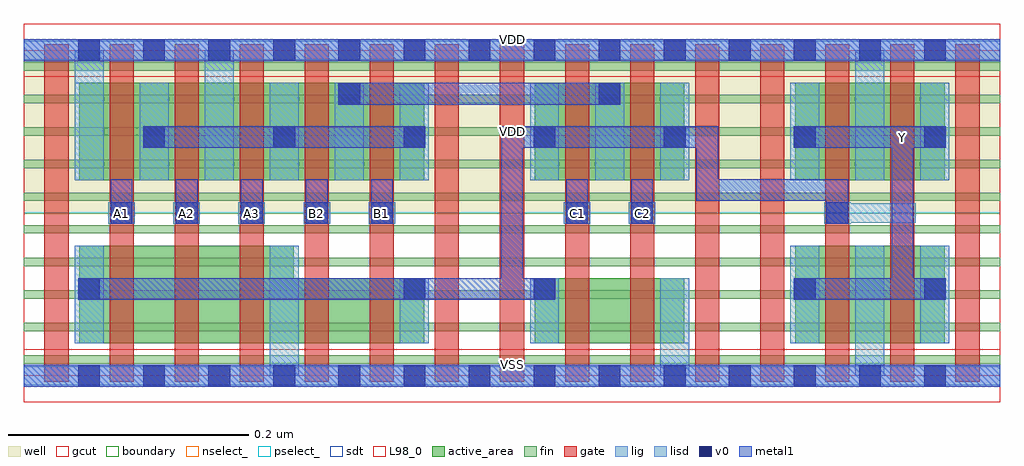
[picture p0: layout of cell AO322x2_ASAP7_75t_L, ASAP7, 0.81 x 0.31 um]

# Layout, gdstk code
import gdstk
lib = gdstk.Library(unit=1e-6, precision=2.5e-10)
def R(c, l, rs):  # rectangles x0, y0, x1, y1
    for r in rs: c.add(gdstk.rectangle(r[:2], r[2:], *l))
def A(c, l, x, y, w, h, nx, ny, dx, dy):  # array of equal rectangles
    R(c, l, [(x+i*dx, y+j*dy, x+i*dx+w, y+j*dy+h) for i in range(nx) for j in range(ny)])
def P(c, l, *ps):  # polygons
    for p in ps: c.add(gdstk.Polygon(p, *l))
well = (1, 0)
fin = (2, 0)
gate = (7, 0)
gcut = (10, 0)
active_area = (11, 0)
nselect_ = (12, 0)
pselect_ = (13, 0)
lig = (16, 0)
lisd = (17, 0)
v0 = (18, 0)
metal1 = (19, 0)
sdt = (88, 0)
L98_0 = (98, 0)
boundary = (100, 0)

ao322x2_asap7_75t_l = lib.new_cell('AO322x2_ASAP7_75t_L')
R(ao322x2_asap7_75t_l, well, [(0,0.135,0.81,0.27)])
A(ao322x2_asap7_75t_l, fin, 0, 0.01, 0.81, 0.007, 1, 10, 0, 0.027)
A(ao322x2_asap7_75t_l, gate, 0.017, -0.005, 0.02, 0.28, 15, 1, 0.054, 0)
R(ao322x2_asap7_75t_l, gcut, [(0,-0.022,0.81,0.022), (0,0.248,0.81,0.292)])
R(ao322x2_asap7_75t_l, active_area, [(0.424,0.027,0.548,0.081), (0.64,0.027,0.764,0.108), (0.046,0.162,0.332,0.243), (0.424,0.162,0.548,0.243), (0.64,0.162,0.764,0.243)])
P(ao322x2_asap7_75t_l, active_area, [(0.224,0.108),(0.046,0.108),(0.046,0.027),(0.332,0.027),(0.332,0.081),(0.224,0.081)])
R(ao322x2_asap7_75t_l, nselect_, [(0,0,0.81,0.135)])
R(ao322x2_asap7_75t_l, pselect_, [(0,0.135,0.81,0.27)])
A(ao322x2_asap7_75t_l, lig, 0.07, 0.126, 0.022, 0.018, 5, 1, 0.054, 0)
R(ao322x2_asap7_75t_l, lig, [(0,-0.008,0.81,0.008), (0.448,0.126,0.47,0.144), (0.502,0.126,0.524,0.144), (0.664,0.126,0.686,0.144), (0.664,0.127,0.74,0.143), (0,0.262,0.81,0.278)])
A(ao322x2_asap7_75t_l, lisd, 0.204, 0.162, 0.024, 0.081, 3, 1, 0.054, 0)
A(ao322x2_asap7_75t_l, lisd, 0.42, 0.162, 0.024, 0.081, 3, 1, 0.054, 0)
R(ao322x2_asap7_75t_l, lisd, [(0.204,0,0.228,0.108), (0.204,0,0.228,0.108), (0.528,0,0.552,0.081), (0.528,0,0.552,0.081), (0.69,0,0.714,0.108), (0.69,0,0.714,0.108), (0.042,0.027,0.066,0.108), (0.312,0.027,0.336,0.081), (0.42,0.027,0.444,0.081), (0.636,0.027,0.66,0.108), (0.744,0.027,0.768,0.108), (0.042,0.162,0.066,0.27), (0.042,0.162,0.066,0.27), (0.096,0.162,0.12,0.243), (0.15,0.162,0.174,0.27), (0.15,0.162,0.174,0.27), (0.636,0.162,0.66,0.243), (0.69,0.162,0.714,0.27), (0.69,0.162,0.714,0.27), (0.744,0.162,0.768,0.243)])
A(ao322x2_asap7_75t_l, v0, 0.045, -0.009, 0.018, 0.018, 14, 2, 0.054, 0.27)
A(ao322x2_asap7_75t_l, v0, 0.072, 0.126, 0.018, 0.018, 5, 1, 0.054, 0)
A(ao322x2_asap7_75t_l, v0, 0.099, 0.189, 0.018, 0.018, 7, 1, 0.108, 0)
R(ao322x2_asap7_75t_l, v0, [(0.045,0.063,0.063,0.081), (0.315,0.063,0.333,0.081), (0.423,0.063,0.441,0.081), (0.639,0.063,0.657,0.081), (0.747,0.063,0.765,0.081), (0.45,0.126,0.468,0.144), (0.504,0.126,0.522,0.144), (0.666,0.126,0.684,0.144), (0.261,0.225,0.279,0.243), (0.477,0.225,0.495,0.243)])
A(ao322x2_asap7_75t_l, metal1, 0.072, 0.126, 0.018, 0.018, 5, 1, 0.054, 0)
A(ao322x2_asap7_75t_l, metal1, 0.072, 0.126, 0.018, 0.037, 5, 1, 0.054, 0)
A(ao322x2_asap7_75t_l, metal1, 0.099, 0.189, 0.018, 0.018, 7, 1, 0.108, 0)
R(ao322x2_asap7_75t_l, metal1, [(0,-0.009,0.81,0.009), (0.045,0.063,0.063,0.081), (0.315,0.063,0.333,0.081), (0.423,0.063,0.441,0.081), (0.639,0.063,0.657,0.081), (0.747,0.063,0.765,0.081), (0.45,0.126,0.468,0.144), (0.45,0.126,0.468,0.163), (0.504,0.126,0.522,0.144), (0.504,0.126,0.522,0.163), (0.666,0.126,0.684,0.144), (0.099,0.189,0.333,0.207), (0.261,0.225,0.279,0.243), (0.261,0.225,0.495,0.243), (0.477,0.225,0.495,0.243), (0,0.261,0.81,0.279)])
P(ao322x2_asap7_75t_l, metal1, [(0.666,0.126),(0.684,0.126),(0.684,0.163),(0.576,0.163),(0.576,0.207),(0.396,0.207),(0.396,0.081),(0.045,0.081),(0.045,0.063),(0.441,0.063),(0.441,0.081),(0.414,0.081),(0.414,0.189),(0.558,0.189),(0.558,0.145),(0.666,0.145)],
  [(0.765,0.189),(0.765,0.207),(0.639,0.207),(0.639,0.189),(0.72,0.189),(0.72,0.081),(0.639,0.081),(0.639,0.063),(0.765,0.063),(0.765,0.081),(0.738,0.081),(0.738,0.189)])
A(ao322x2_asap7_75t_l, sdt, 0.312, 0.027, 0.024, 0.054, 3, 1, 0.108, 0)
A(ao322x2_asap7_75t_l, sdt, 0.042, 0.162, 0.024, 0.081, 3, 1, 0.054, 0)
A(ao322x2_asap7_75t_l, sdt, 0.15, 0.162, 0.024, 0.081, 4, 1, 0.054, 0)
A(ao322x2_asap7_75t_l, sdt, 0.42, 0.162, 0.024, 0.081, 3, 1, 0.054, 0)
R(ao322x2_asap7_75t_l, sdt, [(0.042,0.027,0.066,0.108), (0.204,0.027,0.228,0.108), (0.204,0.027,0.228,0.108), (0.528,0.027,0.552,0.081), (0.636,0.027,0.66,0.108), (0.69,0.027,0.714,0.108), (0.69,0.027,0.714,0.108), (0.744,0.027,0.768,0.108), (0.042,0.162,0.066,0.243), (0.636,0.162,0.66,0.243), (0.69,0.162,0.714,0.243), (0.69,0.162,0.714,0.243), (0.744,0.162,0.768,0.243)])
R(ao322x2_asap7_75t_l, L98_0, [(0,0,0.81,0.27)])
R(ao322x2_asap7_75t_l, boundary, [(0,0,0.81,0.27)])
ao322x2_asap7_75t_l.add(gdstk.Label('VDD', (0.405,0.2025), layer=1, texttype=251))
ao322x2_asap7_75t_l.add(gdstk.Label('VSS', (0.405,-0.0675), layer=3, texttype=251))
ao322x2_asap7_75t_l.add(gdstk.Label('VSS', (0.405,0.009), layer=19, texttype=251))
ao322x2_asap7_75t_l.add(gdstk.Label('VDD', (0.405,0.279), layer=19, texttype=251))
ao322x2_asap7_75t_l.add(gdstk.Label('A1', (0.081,0.135), layer=19, texttype=251))
ao322x2_asap7_75t_l.add(gdstk.Label('A2', (0.135,0.135), layer=19, texttype=251))
ao322x2_asap7_75t_l.add(gdstk.Label('A3', (0.189,0.135), layer=19, texttype=251))
ao322x2_asap7_75t_l.add(gdstk.Label('B2', (0.243,0.135), layer=19, texttype=251))
ao322x2_asap7_75t_l.add(gdstk.Label('B1', (0.297,0.135), layer=19, texttype=251))
ao322x2_asap7_75t_l.add(gdstk.Label('C1', (0.459,0.135), layer=19, texttype=251))
ao322x2_asap7_75t_l.add(gdstk.Label('C2', (0.513,0.135), layer=19, texttype=251))
ao322x2_asap7_75t_l.add(gdstk.Label('Y', (0.729,0.198), layer=19, texttype=251))

lib.write_gds('AO322x2_ASAP7_75t_L.gds')
